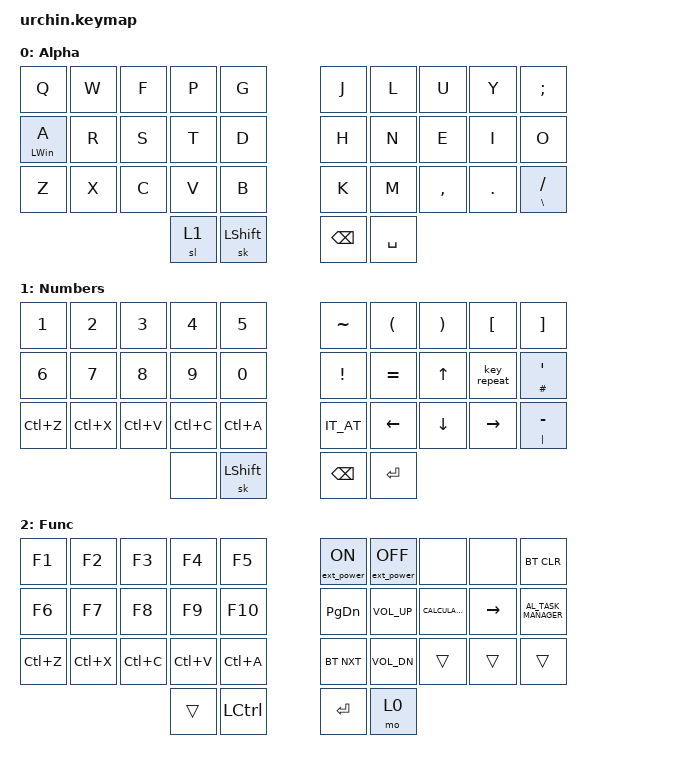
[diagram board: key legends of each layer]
/*
 * Copyright (c) 2020 duckyb
 *
 * SPDX-License-Identifier: MIT
 */

#include <behaviors.dtsi>
#include <dt-bindings/zmk/bt.h>
#include <dt-bindings/zmk/ext_power.h>
#include <dt-bindings/zmk/keys.h>

// Layer definitions

#define BASE 0
#define SYM 1
#define EXT 2
#define FNC 3
#define SYM2 4
#define ACCENT 5
#define SETTINGS 6

// -----------------

&sk {
    // don't release mods on other mods presses

    ignore-modifiers;
    release-after-ms = <899>;
};

/ {
    behaviors {
        // Enables holding the first mod-tap key
        // by performing a tap-release-hold sequence.
        // To use it: "&qt KEYCODE1 KEYCODE2"

        qt: quick_tap {
            compatible = "zmk,behavior-hold-tap";
            label = "QUICK_TAP";
            #binding-cells = <2>;
            flavor = "hold-preferred";
            tapping-term-ms = <200>;
            quick-tap-ms = <200>;
            bindings = <&kp>, <&kp>;
        };
    };

    macros {
        // sometimes my device thinks a modifier is being held down
        // pressing all modifiers fixes it.
    };

    combos {
        compatible = "zmk,combos";

        // both right thumb keys
        // internal-left & external-right thumb keys
        // both left thumb keys
        // left index & middle fingers (home-row)
        // hold control & space for Adobe workflow

        Escape {
            bindings = <&kp ESCAPE>;
            key-positions = <0 1>;
        };

        Tab {
            bindings = <&kp TAB>;
            key-positions = <2 3>;
        };

        Enter {
            bindings = <&kp ENTER>;
            key-positions = <12 13>;
        };

        Stiky_Layer_2 {
            bindings = <&sl 2>;
            key-positions = <31 30>;
        };

        Alpha {
            bindings = <&to 0>;
            key-positions = <20 21>;
        };

        Control {
            bindings = <&kp LEFT_CONTROL>;
            key-positions = <11 10>;
        };

        Delete {
            bindings = <&kp DEL>;
            key-positions = <4 3>;
        };

        Backspace {
            bindings = <&kp BACKSPACE>;
            key-positions = <13 14>;
        };

        Right_Control {
            bindings = <&kp RIGHT_CONTROL>;
            key-positions = <15 16>;
        };
    };

    keymap {
        compatible = "zmk,keymap";

        // Base alpha layer

        Alpha {
            label = "Alpha";
            bindings = <
&kp Q             &kp W    &kp F    &kp P    &kp G         &kp J            &kp L        &kp U        &kp Y      &kp SEMICOLON
&mt LEFT_WIN A    &kp R    &kp S    &kp T    &kp D         &kp H            &kp N        &kp E        &kp I      &kp O
&kp Z             &kp X    &kp C    &kp V    &kp B         &kp K            &kp M        &kp COMMA    &kp DOT    &mt BACKSLASH SLASH
                                    &sl 1    &sk LSHIFT    &kp BACKSPACE    &kp SPACE
            >;
        };

        // Numbers and high frequency symbols

        Numbers {
            label = "Numbers";
            bindings = <
&kp N1          &kp N2       &kp N3       &kp N4       &kp N5            &kp TILDE          &kp LEFT_PARENTHESIS    &kp RIGHT_PARENTHESIS    &kp LEFT_BRACKET    &kp RIGHT_BRACKET
&kp NUMBER_6    &kp N7       &kp N8       &kp N9       &kp N0            &kp EXCLAMATION    &kp EQUAL               &kp UP_ARROW             &key_repeat         &mt HASH APOS
&kp LC(Z)       &kp LC(X)    &kp LC(V)    &kp LC(C)    &kp LC(A)         &kp IT_AT          &kp LEFT_ARROW          &kp DOWN                 &kp RIGHT           &mt PIPE MINUS
                                          &none        &sk LEFT_SHIFT    &kp BACKSPACE      &kp ENTER
            >;
        };

        // Main modifiers and arrow keys

        ext_layer {
            label = "Func";
            bindings = <
&kp F1       &kp F2       &kp F3       &kp F4       &kp F5       &ext_power EP_ON    &ext_power EP_OFF    &none               &none        &bt BT_CLR
&kp F6       &kp F7       &kp F8       &kp F9       &kp F10      &kp PG_DN           &kp C_VOLUME_UP      &kp K_CALCULATOR    &kp RIGHT    &kp C_AL_TASK_MANAGER
&kp LC(Z)    &kp LC(X)    &kp LC(C)    &kp LC(V)    &kp LC(A)    &bt BT_NXT          &kp C_VOL_DN         &trans              &trans       &trans
                                       &trans       &kp LCTRL    &kp ENTER           &mo 0
            >;
        };

        // Function keys with modifiers
        // Low frequency symbols.
        // Used to type regional accents.
        // Used to change the keyboard's settings.
    };
};
